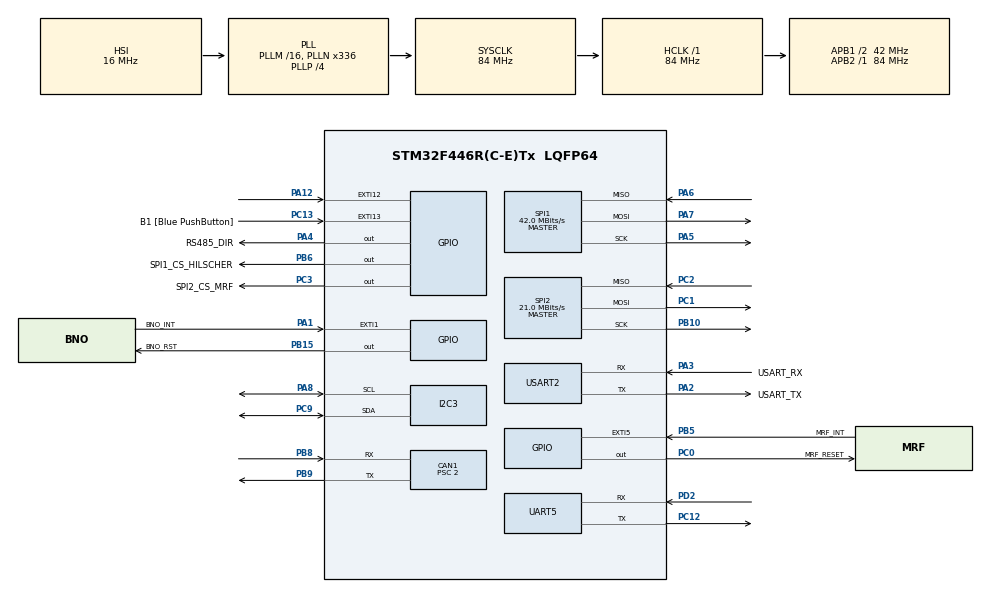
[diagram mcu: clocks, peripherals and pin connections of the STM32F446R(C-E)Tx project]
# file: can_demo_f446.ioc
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CAN1.BS1=CAN_BS1_12TQ
CAN1.BS2=CAN_BS2_8TQ
CAN1.CalculateBaudRate=1000000
CAN1.CalculateTimeBit=1000
CAN1.CalculateTimeQuantum=47.61904761904762
CAN1.Prescaler=2
CAN1.SJW=CAN_SJW_1TQ
Dma.Request0=UART5_RX
Dma.UART5_RX.0.Direction=DMA_PERIPH_TO_MEMORY
Dma.UART5_RX.0.FIFOMode=DMA_FIFOMODE_DISABLE
Dma.UART5_RX.0.Instance=DMA1_Stream0
Dma.UART5_RX.0.MemDataAlignment=DMA_MDATAALIGN_BYTE
Dma.UART5_RX.0.MemInc=DMA_MINC_ENABLE
Dma.UART5_RX.0.Mode=DMA_NORMAL
Dma.UART5_RX.0.PeriphDataAlignment=DMA_PDATAALIGN_BYTE
Dma.UART5_RX.0.PeriphInc=DMA_PINC_DISABLE
Dma.UART5_RX.0.Priority=DMA_PRIORITY_LOW
I2C3.I2C_Mode=I2C_Fast
Mcu.Family=STM32F4
Mcu.Name=STM32F446R(C-E)Tx
Mcu.Package=LQFP64
NVIC.CAN1_RX0_IRQn=true\:0\:0\:false\:false\:true\:true\:true\:true
NVIC.DMA1_Stream0_IRQn=true\:0\:0\:false\:false\:true\:false\:true\:true
NVIC.EXTI9_5_IRQn=true\:0\:0\:false\:false\:true\:true\:true\:true
NVIC.PriorityGroup=NVIC_PRIORITYGROUP_0
NVIC.USART2_IRQn=true\:0\:0\:false\:false\:true\:true\:true\:true
PA0-WKUP.Signal=UART4_TX
PA1.GPIO_Label=BNO_INT
PA1.Signal=GPXTI1
PA12.Signal=GPXTI12
PA13.GPIO_Label=TMS
PA13.Mode=Serial_Wire
PA13.Signal=SYS_JTMS-SWDIO
PA14.GPIO_Label=TCK
PA14.Mode=Serial_Wire
PA14.Signal=SYS_JTCK-SWCLK
PA2.GPIO_Label=USART_TX
PA2.Mode=Asynchronous
PA2.Signal=USART2_TX
PA3.GPIO_Label=USART_RX
PA3.Mode=Asynchronous
PA3.Signal=USART2_RX
PA4.GPIO_Label=RS485_DIR
PA4.Signal=GPIO_Output
PA5.Mode=Full_Duplex_Master
PA5.Signal=SPI1_SCK
PA6.Mode=Full_Duplex_Master
PA6.Signal=SPI1_MISO
PA7.Mode=Full_Duplex_Master
PA7.Signal=SPI1_MOSI
PA8.Mode=I2C
PA8.Signal=I2C3_SCL
PB10.Mode=Full_Duplex_Master
PB10.Signal=SPI2_SCK
PB15.GPIO_Label=BNO_RST
PB15.Signal=GPIO_Output
PB5.GPIO_Label=MRF_INT
PB5.GPIO_ModeDefaultEXTI=GPIO_MODE_IT_RISING
PB5.Signal=GPXTI5
PB6.GPIO_Label=SPI1_CS_HILSCHER
PB6.Signal=GPIO_Output
PB8.Mode=CAN_Activate
PB8.Signal=CAN1_RX
PB9.Mode=CAN_Activate
PB9.Signal=CAN1_TX
PC0.GPIO_Label=MRF_RESET
PC0.Signal=GPIO_Output
PC1.Mode=Full_Duplex_Master
PC1.Signal=SPI2_MOSI
PC12.Mode=Asynchronous
PC12.Signal=UART5_TX
PC13.GPIO_Label=B1 [Blue PushButton]
PC13.GPIO_ModeDefaultEXTI=GPIO_MODE_IT_FALLING
PC13.Signal=GPXTI13
PC2.Mode=Full_Duplex_Master
PC2.Signal=SPI2_MISO
PC3.GPIO_Label=SPI2_CS_MRF
PC3.Signal=GPIO_Output
PC9.Mode=I2C
PC9.Signal=I2C3_SDA
PD2.Mode=Asynchronous
PD2.Signal=UART5_RX
PH0-OSC_IN.Mode=HSE-External-Oscillator
PH0-OSC_IN.Signal=RCC_OSC_IN
PH1-OSC_OUT.Mode=HSE-External-Oscillator
PH1-OSC_OUT.Signal=RCC_OSC_OUT
ProjectManager.HeapSize=0x2000
ProjectManager.StackSize=0x4000
ProjectManager.TargetToolchain=STM32CubeIDE
RCC.48MHZClocksFreq_Value=84000000
RCC.AHBFreq_Value=84000000
RCC.APB1CLKDivider=RCC_HCLK_DIV2
RCC.APB1Freq_Value=42000000
RCC.APB1TimFreq_Value=84000000
RCC.APB2Freq_Value=84000000
RCC.APB2TimFreq_Value=84000000
RCC.CortexFreq_Value=84000000
RCC.FLatency-AdvancedSettings=FLASH_LATENCY_2
RCC.HCLKFreq_Value=84000000
RCC.HSE_VALUE=8000000
RCC.HSI_VALUE=16000000
RCC.PLLN=336
RCC.PLLP=RCC_PLLP_DIV4
RCC.SYSCLKFreq_VALUE=84000000
RCC.SYSCLKSource=RCC_SYSCLKSOURCE_PLLCLK
RCC.USBFreq_Value=168000000
RCC.VCOOutputFreq_Value=336000000
SPI1.CalculateBaudRate=42.0 MBits/s
SPI1.Direction=SPI_DIRECTION_2LINES
SPI1.Mode=SPI_MODE_MASTER
SPI1.VirtualType=VM_MASTER
SPI2.CalculateBaudRate=21.0 MBits/s
SPI2.Direction=SPI_DIRECTION_2LINES
SPI2.Mode=SPI_MODE_MASTER
SPI2.VirtualType=VM_MASTER
UART5.VirtualMode=Asynchronous
USART2.VirtualMode=VM_ASYNC
board=NUCLEO-F446RE

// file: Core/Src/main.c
/* USER CODE BEGIN Header */
/**
  ******************************************************************************
  * @file           : main.c
  * @brief          : Main program body
  ******************************************************************************
  * @attention
  *
  * Copyright (c) 2022 STMicroelectronics.
  * All rights reserved.
  *
  * This software is licensed under terms that can be found in the LICENSE file
  * in the root directory of this software component.
  * If no LICENSE file comes with this software, it is provided AS-IS.
  * STUDENTJE EDIT
  ******************************************************************************
  */
/* USER CODE END Header */
#include "main.h"

/* USER CODE BEGIN Includes */
#include <stdio.h>
#include "DDSM115.h"
#include "cybergear.h"
#include "demo_app.h"
#include "uart_app.h"
#include "control_loop.h"
#include "regulator.h"
/* USER CODE END Includes */

CAN_HandleTypeDef hcan1;
I2C_HandleTypeDef hi2c3;
SPI_HandleTypeDef hspi1;
SPI_HandleTypeDef hspi2;
UART_HandleTypeDef huart5;
UART_HandleTypeDef huart2;
DMA_HandleTypeDef hdma_uart5_rx;

void SystemClock_Config(void);
static void MX_GPIO_Init(void);
static void MX_DMA_Init(void);
static void MX_USART2_UART_Init(void);
static void MX_CAN1_Init(void);
static void MX_I2C3_Init(void);
static void MX_UART5_Init(void);
static void MX_SPI1_Init(void);
static void MX_SPI2_Init(void);

/* USER CODE BEGIN 0 */
int __io_putchar(int ch)
{
    HAL_UART_Transmit(&huart2, (uint8_t *)&ch, 1, HAL_MAX_DELAY);
    return ch;
}
/* USER CODE END 0 */

int main(void)
{

  HAL_Init();

  SystemClock_Config();

  MX_GPIO_Init();
  MX_DMA_Init();
  MX_USART2_UART_Init();
  MX_CAN1_Init();
  MX_I2C3_Init();
  MX_UART5_Init();
  MX_SPI1_Init();
  MX_SPI2_Init();

  /* USER CODE BEGIN 2 */

  UART_App_Init();

  // CAN filter in zagon
  CAN_FilterTypeDef sFilterConfig = {
      .FilterBank           = 0,
      .FilterMode           = CAN_FILTERMODE_IDMASK,
      .FilterScale          = CAN_FILTERSCALE_32BIT,
      .FilterIdHigh         = 0x00,
      .FilterIdLow          = 0,
      .FilterMaskIdHigh     = 0,
      .FilterMaskIdLow      = 0,
      .FilterFIFOAssignment = CAN_FILTER_FIFO0,
      .FilterActivation     = ENABLE,
      .SlaveStartFilterBank = 14,
  };
  HAL_CAN_ConfigFilter(&hcan1, &sFilterConfig);
  HAL_CAN_Start(&hcan1);
  HAL_CAN_ActivateNotification(&hcan1, CAN_IT_RX_FIFO0_MSG_PENDING);

  // BNO086
  BNO_Init(&hi2c3, &huart2, BNO_INT_Pin);

  // CyberGear
  uint8_t motor_ID[] = {6, 5, 7, 8};
  CG_InitAllMotors(&hcan1, motor_ID);

  // DDSM115 — tokovni način za LQR regulator
  CurrentMode(0x10); HAL_Delay(100);
  CurrentMode(0x30); HAL_Delay(100);
  sendCurrentCommand(0x10, 0.0f); HAL_Delay(10);
  sendCurrentCommand(0x30, 0.0f); HAL_Delay(10);

  // LQR regulator init
  controller_init();

  // Počakaj 2s da se BNO086 stabilizira
  HAL_Delay(500);

  /* USER CODE END 2 */

  /* Infinite loop */
  /* USER CODE BEGIN WHILE */

  uint8_t cg_ids[] = {6, 5, 7, 8};
  Control_Loop_Init();

  while (1)
  {
      if (stop_request)
      {
          /* DDSM tok = 0 (ISR je že poslal, to je varnostni ponovni ukaz) */
         // sendCurrentCommand(0x10, 0.0f); HAL_Delay(10);
          //sendCurrentCommand(0x30, 0.0f); HAL_Delay(10);

          /* CG noge nazaj na 0° in ustavi */
         HAL_Delay(1000);
          CG_StopAll(&hcan1, cg_ids);

          stop_request = 0;
      }
      __WFI();
    /* USER CODE END WHILE */

  }
}

void SystemClock_Config(void)
{
  RCC_OscInitTypeDef RCC_OscInitStruct = {0};
  RCC_ClkInitTypeDef RCC_ClkInitStruct = {0};

  __HAL_RCC_PWR_CLK_ENABLE();
  __HAL_PWR_VOLTAGESCALING_CONFIG(PWR_REGULATOR_VOLTAGE_SCALE3);

  RCC_OscInitStruct.OscillatorType      = RCC_OSCILLATORTYPE_HSI;
  RCC_OscInitStruct.HSIState            = RCC_HSI_ON;
  RCC_OscInitStruct.HSICalibrationValue = RCC_HSICALIBRATION_DEFAULT;
  RCC_OscInitStruct.PLL.PLLState        = RCC_PLL_ON;
  RCC_OscInitStruct.PLL.PLLSource       = RCC_PLLSOURCE_HSI;
  RCC_OscInitStruct.PLL.PLLM            = 16;
  RCC_OscInitStruct.PLL.PLLN            = 336;
  RCC_OscInitStruct.PLL.PLLP            = RCC_PLLP_DIV4;
  RCC_OscInitStruct.PLL.PLLQ            = 2;
  RCC_OscInitStruct.PLL.PLLR            = 2;
  if (HAL_RCC_OscConfig(&RCC_OscInitStruct) != HAL_OK)
    Error_Handler();

  RCC_ClkInitStruct.ClockType      = RCC_CLOCKTYPE_HCLK | RCC_CLOCKTYPE_SYSCLK
                                   | RCC_CLOCKTYPE_PCLK1 | RCC_CLOCKTYPE_PCLK2;
  RCC_ClkInitStruct.SYSCLKSource   = RCC_SYSCLKSOURCE_PLLCLK;
  RCC_ClkInitStruct.AHBCLKDivider  = RCC_SYSCLK_DIV1;
  RCC_ClkInitStruct.APB1CLKDivider = RCC_HCLK_DIV2;
  RCC_ClkInitStruct.APB2CLKDivider = RCC_HCLK_DIV1;
  if (HAL_RCC_ClockConfig(&RCC_ClkInitStruct, FLASH_LATENCY_2) != HAL_OK)
    Error_Handler();
}

static void MX_CAN1_Init(void)
{
  hcan1.Instance                  = CAN1;
  hcan1.Init.Prescaler            = 2;
  hcan1.Init.Mode                 = CAN_MODE_NORMAL;
  hcan1.Init.SyncJumpWidth        = CAN_SJW_1TQ;
  hcan1.Init.TimeSeg1             = CAN_BS1_12TQ;
  hcan1.Init.TimeSeg2             = CAN_BS2_8TQ;
  hcan1.Init.TimeTriggeredMode    = DISABLE;
  hcan1.Init.AutoBusOff           = DISABLE;
  hcan1.Init.AutoWakeUp           = DISABLE;
  hcan1.Init.AutoRetransmission   = DISABLE;
  hcan1.Init.ReceiveFifoLocked    = DISABLE;
  hcan1.Init.TransmitFifoPriority = DISABLE;
  if (HAL_CAN_Init(&hcan1) != HAL_OK)
    Error_Handler();
}

static void MX_I2C3_Init(void)
{
  hi2c3.Instance             = I2C3;
  hi2c3.Init.ClockSpeed      = 400000;
  hi2c3.Init.DutyCycle       = I2C_DUTYCYCLE_2;
  hi2c3.Init.OwnAddress1     = 0;
  hi2c3.Init.AddressingMode  = I2C_ADDRESSINGMODE_7BIT;
  hi2c3.Init.DualAddressMode = I2C_DUALADDRESS_DISABLE;
  hi2c3.Init.OwnAddress2     = 0;
  hi2c3.Init.GeneralCallMode = I2C_GENERALCALL_DISABLE;
  hi2c3.Init.NoStretchMode   = I2C_NOSTRETCH_DISABLE;
  if (HAL_I2C_Init(&hi2c3) != HAL_OK)
    Error_Handler();
}

static void MX_SPI1_Init(void)
{
  hspi1.Instance               = SPI1;
  hspi1.Init.Mode              = SPI_MODE_MASTER;
  hspi1.Init.Direction         = SPI_DIRECTION_2LINES;
  hspi1.Init.DataSize          = SPI_DATASIZE_8BIT;
  hspi1.Init.CLKPolarity       = SPI_POLARITY_LOW;
  hspi1.Init.CLKPhase          = SPI_PHASE_1EDGE;
  hspi1.Init.NSS               = SPI_NSS_SOFT;
  hspi1.Init.BaudRatePrescaler = SPI_BAUDRATEPRESCALER_2;
  hspi1.Init.FirstBit          = SPI_FIRSTBIT_MSB;
  hspi1.Init.TIMode            = SPI_TIMODE_DISABLE;
  hspi1.Init.CRCCalculation    = SPI_CRCCALCULATION_DISABLE;
  hspi1.Init.CRCPolynomial     = 10;
  if (HAL_SPI_Init(&hspi1) != HAL_OK)
    Error_Handler();
}

static void MX_SPI2_Init(void)
{
  hspi2.Instance               = SPI2;
  hspi2.Init.Mode              = SPI_MODE_MASTER;
  hspi2.Init.Direction         = SPI_DIRECTION_2LINES;
  hspi2.Init.DataSize          = SPI_DATASIZE_8BIT;
  hspi2.Init.CLKPolarity       = SPI_POLARITY_LOW;
  hspi2.Init.CLKPhase          = SPI_PHASE_1EDGE;
  hspi2.Init.NSS               = SPI_NSS_SOFT;
  hspi2.Init.BaudRatePrescaler = SPI_BAUDRATEPRESCALER_2;
  hspi2.Init.FirstBit          = SPI_FIRSTBIT_MSB;
  hspi2.Init.TIMode            = SPI_TIMODE_DISABLE;
  hspi2.Init.CRCCalculation    = SPI_CRCCALCULATION_DISABLE;
  hspi2.Init.CRCPolynomial     = 10;
  if (HAL_SPI_Init(&hspi2) != HAL_OK)
    Error_Handler();
}

static void MX_UART5_Init(void)
{
  huart5.Instance          = UART5;
  huart5.Init.BaudRate     = 115200;
  huart5.Init.WordLength   = UART_WORDLENGTH_8B;
  huart5.Init.StopBits     = UART_STOPBITS_1;
  huart5.Init.Parity       = UART_PARITY_NONE;
  huart5.Init.Mode         = UART_MODE_TX_RX;
  huart5.Init.HwFlowCtl    = UART_HWCONTROL_NONE;
  huart5.Init.OverSampling = UART_OVERSAMPLING_16;
  if (HAL_UART_Init(&huart5) != HAL_OK)
    Error_Handler();
}

static void MX_USART2_UART_Init(void)
{
  huart2.Instance          = USART2;
  huart2.Init.BaudRate     = 115200;
  huart2.Init.WordLength   = UART_WORDLENGTH_8B;
  huart2.Init.StopBits     = UART_STOPBITS_1;
  huart2.Init.Parity       = UART_PARITY_NONE;
  huart2.Init.Mode         = UART_MODE_TX_RX;
  huart2.Init.HwFlowCtl    = UART_HWCONTROL_NONE;
  huart2.Init.OverSampling = UART_OVERSAMPLING_16;
  if (HAL_UART_Init(&huart2) != HAL_OK)
    Error_Handler();
}

static void MX_DMA_Init(void)
{
  __HAL_RCC_DMA1_CLK_ENABLE();
  HAL_NVIC_SetPriority(DMA1_Stream0_IRQn, 0, 0);
  HAL_NVIC_EnableIRQ(DMA1_Stream0_IRQn);
}

static void MX_GPIO_Init(void)
{
  GPIO_InitTypeDef GPIO_InitStruct = {0};

  __HAL_RCC_GPIOC_CLK_ENABLE();
  __HAL_RCC_GPIOH_CLK_ENABLE();
  __HAL_RCC_GPIOA_CLK_ENABLE();
  __HAL_RCC_GPIOB_CLK_ENABLE();
  __HAL_RCC_GPIOD_CLK_ENABLE();

  HAL_GPIO_WritePin(GPIOC, MRF_RESET_Pin | SPI2_CS_MRF_Pin, GPIO_PIN_RESET);
  HAL_GPIO_WritePin(RS485_DIR_GPIO_Port, RS485_DIR_Pin, GPIO_PIN_RESET);
  HAL_GPIO_WritePin(GPIOB, BNO_RST_Pin | SPI1_CS_HILSCHER_Pin, GPIO_PIN_RESET);

  // B1 (user button)
  GPIO_InitStruct.Pin  = B1_Pin;
  GPIO_InitStruct.Mode = GPIO_MODE_IT_FALLING;
  GPIO_InitStruct.Pull = GPIO_NOPULL;
  HAL_GPIO_Init(B1_GPIO_Port, &GPIO_InitStruct);

  // MRF pins (SPI CS + reset)
  GPIO_InitStruct.Pin   = MRF_RESET_Pin | SPI2_CS_MRF_Pin;
  GPIO_InitStruct.Mode  = GPIO_MODE_OUTPUT_PP;
  GPIO_InitStruct.Pull  = GPIO_NOPULL;
  GPIO_InitStruct.Speed = GPIO_SPEED_FREQ_LOW;
  HAL_GPIO_Init(GPIOC, &GPIO_InitStruct);

  // PA0 (UART4 AF)
  GPIO_InitStruct.Pin       = GPIO_PIN_0;
  GPIO_InitStruct.Mode      = GPIO_MODE_AF_PP;
  GPIO_InitStruct.Pull      = GPIO_NOPULL;
  GPIO_InitStruct.Speed     = GPIO_SPEED_FREQ_VERY_HIGH;
  GPIO_InitStruct.Alternate = GPIO_AF8_UART4;
  HAL_GPIO_Init(GPIOA, &GPIO_InitStruct);

  // BNO086 INT (falling edge, pull-up)
  GPIO_InitStruct.Pin  = BNO_INT_Pin;
  GPIO_InitStruct.Mode = GPIO_MODE_IT_FALLING;
  GPIO_InitStruct.Pull = GPIO_PULLUP;
  HAL_GPIO_Init(INT_GPIO_Port, &GPIO_InitStruct);

  // RS485 DE/RE
  GPIO_InitStruct.Pin   = RS485_DIR_Pin;
  GPIO_InitStruct.Mode  = GPIO_MODE_OUTPUT_PP;
  GPIO_InitStruct.Pull  = GPIO_NOPULL;
  GPIO_InitStruct.Speed = GPIO_SPEED_FREQ_LOW;
  HAL_GPIO_Init(RS485_DIR_GPIO_Port, &GPIO_InitStruct);

  // BNO086 RST + SPI1 CS
  GPIO_InitStruct.Pin   = BNO_RST_Pin | SPI1_CS_HILSCHER_Pin;
  GPIO_InitStruct.Mode  = GPIO_MODE_OUTPUT_PP;
  GPIO_InitStruct.Pull  = GPIO_NOPULL;
  GPIO_InitStruct.Speed = GPIO_SPEED_FREQ_LOW;
  HAL_GPIO_Init(GPIOB, &GPIO_InitStruct);

  // MRF INT
  GPIO_InitStruct.Pin  = MRF_INT_Pin;
  GPIO_InitStruct.Mode = GPIO_MODE_IT_RISING;
  GPIO_InitStruct.Pull = GPIO_NOPULL;
  HAL_GPIO_Init(MRF_INT_GPIO_Port, &GPIO_InitStruct);

  HAL_NVIC_SetPriority(EXTI1_IRQn, 0, 1);
  HAL_NVIC_EnableIRQ(EXTI1_IRQn);

  HAL_NVIC_SetPriority(EXTI9_5_IRQn, 0, 0);
  HAL_NVIC_EnableIRQ(EXTI9_5_IRQn);

  /* B1 user button (PC13) */
  HAL_NVIC_SetPriority(EXTI15_10_IRQn, 6, 0);
  HAL_NVIC_EnableIRQ(EXTI15_10_IRQn);
}

/**
  * @brief  Error handler
  */
void Error_Handler(void)
{
  __disable_irq();
  while (1) {}
}
